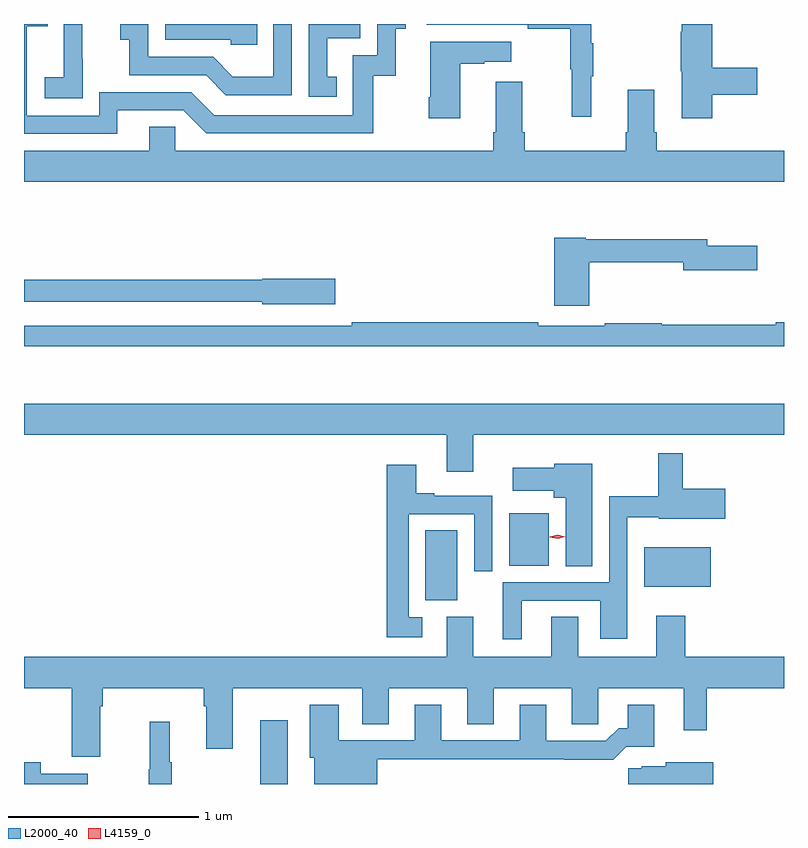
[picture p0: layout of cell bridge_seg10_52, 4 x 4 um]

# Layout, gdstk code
import gdstk
lib = gdstk.Library(unit=1e-6, precision=1e-09)
def R(c, l, rs):  # rectangles x0, y0, x1, y1
    for r in rs: c.add(gdstk.rectangle(r[:2], r[2:], *l))
def P(c, l, *ps):  # polygons
    for p in ps: c.add(gdstk.Polygon(p, *l))
L2000_40 = (2000, 40)
L4159_0 = (4159, 0)

bridge_seg10_52 = lib.new_cell('bridge_seg10_52')
R(bridge_seg10_52, L2000_40, [(866.192,1319.791,866.338,1320.127), (867.062,1320.757,867.229,1321.127), (868.214,1320.83,868.564,1321.036), (867.503,1320.941,867.712,1321.216)])
P(bridge_seg10_52, L2000_40, [(865.257,1323.607),(865.256,1323.607),(865.256,1323.791),(865.158,1323.791),(865.158,1323.74),(865.157,1323.74),(865.157,1323.511),(865.059,1323.511),(865.059,1323.401),(865.257,1323.401)],
  [(866.594,1323.513),(866.545,1323.513),(866.545,1323.717),(866.718,1323.717),(866.718,1323.791),(866.448,1323.791),(866.448,1323.408),(866.594,1323.408)],
  [(865.441,1323.336),(865.788,1323.336),(865.908,1323.216),(866.788,1323.216),(866.788,1323.519),(866.906,1323.519),(866.906,1323.765),(866.959,1323.765),(866.959,1323.791),(866.808,1323.791),(866.808,1323.627),(866.679,1323.627),(866.679,1323.312),(865.95,1323.312),(865.83,1323.432),(865.344,1323.432),(865.344,1323.309),(864.963,1323.309),(864.963,1323.778),(865.073,1323.778),(865.073,1323.791),(864.949,1323.791),(864.949,1323.213),(865.441,1323.213)],
  [(866.358,1323.791),(866.262,1323.791),(866.262,1323.514),(866.048,1323.514),(865.944,1323.618),(865.602,1323.618),(865.602,1323.791),(865.455,1323.791),(865.455,1323.707),(865.504,1323.707),(865.504,1323.522),(865.907,1323.522),(866.012,1323.417),(866.358,1323.417)],
  [(866.177,1323.791),(865.692,1323.791),(865.692,1323.708),(866.037,1323.708),(866.037,1323.681),(866.177,1323.681)],
  [(868.571,1323.418),(868.807,1323.418),(868.807,1323.56),(868.571,1323.56),(868.571,1323.791),(868.412,1323.791),(868.412,1323.749),(868.405,1323.749),(868.405,1323.543),(868.412,1323.543),(868.412,1323.294),(868.571,1323.294)],
  [(867.935,1323.515),(867.946,1323.515),(867.946,1323.689),(867.935,1323.689),(867.935,1323.791),(867.069,1323.791),(867.069,1323.786),(867.601,1323.786),(867.601,1323.766),(867.825,1323.766),(867.825,1323.552),(867.832,1323.552),(867.832,1323.303),(867.935,1323.303)],
  [(867.244,1323.583),(867.371,1323.583),(867.371,1323.593),(867.514,1323.593),(867.514,1323.697),(867.086,1323.697),(867.086,1323.406),(867.079,1323.406),(867.079,1323.294),(867.244,1323.294)],
  [(868.949,1323.124),(868.28,1323.124),(868.28,1323.22),(868.267,1323.22),(868.267,1323.445),(868.127,1323.445),(868.127,1323.22),(868.115,1323.22),(868.115,1323.124),(867.584,1323.124),(867.584,1323.22),(867.571,1323.22),(867.571,1323.487),(867.431,1323.487),(867.431,1323.22),(867.419,1323.22),(867.419,1323.124),(865.746,1323.124),(865.746,1323.251),(865.607,1323.251),(865.607,1323.124),(864.949,1323.124),(864.949,1322.96),(868.949,1322.96)],
  [(867.923,1322.538),(868.418,1322.538),(868.418,1322.495),(868.807,1322.495),(868.807,1322.625),(868.546,1322.625),(868.546,1322.659),(867.906,1322.659),(867.906,1322.667),(867.74,1322.667),(867.74,1322.307),(867.923,1322.307)],
  [(866.587,1322.45),(866.202,1322.45),(866.202,1322.444),(864.949,1322.444),(864.949,1322.328),(866.202,1322.328),(866.202,1322.315),(866.587,1322.315)],
  [(868.949,1322.222),(868.906,1322.222),(868.906,1322.207),(868.306,1322.207),(868.306,1322.215),(868.006,1322.215),(868.006,1322.202),(867.656,1322.202),(867.656,1322.222),(866.674,1322.222),(866.674,1322.202),(864.949,1322.202),(864.949,1322.094),(868.949,1322.094)],
  [(867.313,1321.628),(868.949,1321.628),(868.949,1321.792),(864.949,1321.792),(864.949,1321.628),(867.173,1321.628),(867.173,1321.434),(867.313,1321.434)],
  [(867.568,1320.756),(867.983,1320.756),(867.983,1320.555),(868.125,1320.555),(868.125,1321.196),(868.29,1321.196),(868.29,1321.187),(868.639,1321.187),(868.639,1321.345),(868.415,1321.345),(868.415,1321.531),(868.287,1321.531),(868.287,1321.306),(868.029,1321.306),(868.029,1320.852),(867.469,1320.852),(867.469,1320.552),(867.568,1320.552)],
  [(867.94,1321.477),(867.741,1321.477),(867.741,1321.456),(867.522,1321.456),(867.522,1321.334),(867.737,1321.334),(867.737,1321.297),(867.8,1321.297),(867.8,1320.937),(867.94,1320.937)],
  [(867.046,1320.669),(866.973,1320.669),(866.973,1321.212),(867.318,1321.212),(867.318,1320.912),(867.414,1320.912),(867.414,1321.308),(867.109,1321.308),(867.109,1321.321),(867.013,1321.321),(867.013,1321.471),(866.857,1321.471),(866.857,1320.564),(867.046,1320.564)],
  [(867.173,1320.46),(864.949,1320.46),(864.949,1320.296),(865.199,1320.296),(865.199,1319.934),(865.351,1319.934),(865.351,1320.2),(865.364,1320.2),(865.364,1320.296),(865.895,1320.296),(865.895,1320.2),(865.907,1320.2),(865.907,1319.976),(866.047,1319.976),(866.047,1320.296),(866.729,1320.296),(866.729,1320.106),(866.869,1320.106),(866.869,1320.296),(867.281,1320.296),(867.281,1320.106),(867.421,1320.106),(867.421,1320.296),(867.833,1320.296),(867.833,1320.106),(867.972,1320.106),(867.972,1320.296),(868.421,1320.296),(868.421,1320.075),(868.543,1320.075),(868.543,1320.296),(868.949,1320.296),(868.949,1320.46),(868.43,1320.46),(868.43,1320.676),(868.277,1320.676),(868.277,1320.46),(867.865,1320.46),(867.865,1320.671),(867.725,1320.671),(867.725,1320.46),(867.313,1320.46),(867.313,1320.672),(867.173,1320.672)],
  [(866.809,1319.92),(867.793,1319.92),(867.793,1319.918),(868.049,1319.918),(868.119,1319.988),(868.267,1319.988),(868.267,1320.208),(868.127,1320.208),(868.127,1320.085),(868.078,1320.085),(868.011,1320.018),(867.697,1320.018),(867.697,1320.208),(867.557,1320.208),(867.557,1320.021),(867.145,1320.021),(867.145,1320.208),(867.005,1320.208),(867.005,1320.021),(866.605,1320.021),(866.605,1320.208),(866.453,1320.208),(866.453,1319.928),(866.477,1319.928),(866.477,1319.791),(866.809,1319.791)],
  [(865.726,1319.905),(865.715,1319.905),(865.715,1320.118),(865.612,1320.118),(865.612,1319.868),(865.605,1319.868),(865.605,1319.791),(865.726,1319.791)],
  [(868.576,1319.905),(868.326,1319.905),(868.326,1319.884),(868.2,1319.884),(868.2,1319.873),(868.128,1319.873),(868.128,1319.791),(868.576,1319.791)],
  [(865.285,1319.845),(865.037,1319.845),(865.037,1319.905),(864.949,1319.905),(864.949,1319.791),(865.285,1319.791)])
P(bridge_seg10_52, L4159_0, [(867.757,1321.082),(867.716,1321.091),(867.716,1321.091),(867.716,1321.092),(867.757,1321.102),(867.797,1321.092),(867.798,1321.092),(867.797,1321.092)])

lib.write_gds('bridge_seg10_52.gds')
